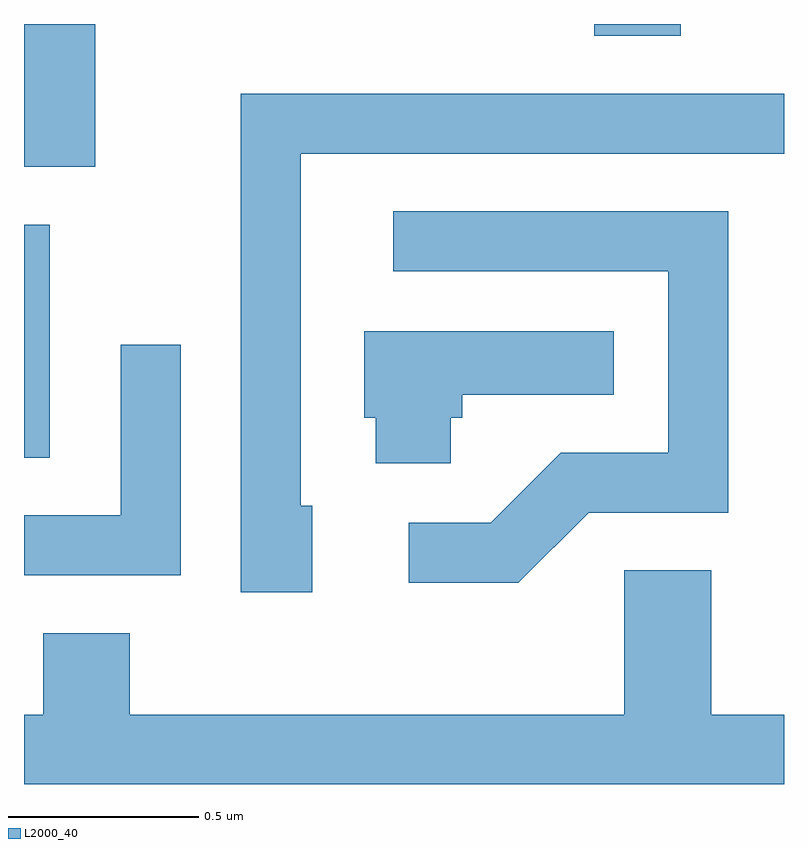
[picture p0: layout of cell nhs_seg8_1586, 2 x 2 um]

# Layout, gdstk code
import gdstk
lib = gdstk.Library(unit=1e-6, precision=1e-09)
def R(c, l, rs):  # rectangles x0, y0, x1, y1
    for r in rs: c.add(gdstk.rectangle(r[:2], r[2:], *l))
def P(c, l, *ps):  # polygons
    for p in ps: c.add(gdstk.Polygon(p, *l))
L2000_40 = (2000, 40)

nhs_seg8_1586 = lib.new_cell('nhs_seg8_1586')
R(nhs_seg8_1586, L2000_40, [(196.611,1886.201,196.679,1886.814), (196.611,1886.966,196.799,1887.342), (198.111,1887.311,198.339,1887.342)])
P(nhs_seg8_1586, L2000_40, [(197.369,1886.074),(197.339,1886.074),(197.339,1887.001),(198.611,1887.001),(198.611,1887.159),(197.181,1887.159),(197.181,1885.846),(197.369,1885.846)],
  [(198.097,1886.056),(198.464,1886.056),(198.464,1886.849),(197.583,1886.849),(197.583,1886.691),(198.306,1886.691),(198.306,1886.214),(198.024,1886.214),(197.839,1886.029),(197.623,1886.029),(197.623,1885.871),(197.912,1885.871)],
  [(197.734,1886.306),(197.764,1886.306),(197.764,1886.366),(198.163,1886.366),(198.163,1886.534),(197.506,1886.534),(197.506,1886.306),(197.536,1886.306),(197.536,1886.186),(197.734,1886.186)],
  [(197.024,1886.498),(196.866,1886.498),(196.866,1886.049),(196.611,1886.049),(196.611,1885.891),(197.024,1885.891)],
  [(198.611,1885.524),(198.419,1885.524),(198.419,1885.904),(198.191,1885.904),(198.191,1885.524),(196.889,1885.524),(196.889,1885.739),(196.661,1885.739),(196.661,1885.524),(196.611,1885.524),(196.611,1885.342),(198.611,1885.342)])

lib.write_gds('nhs_seg8_1586.gds')
